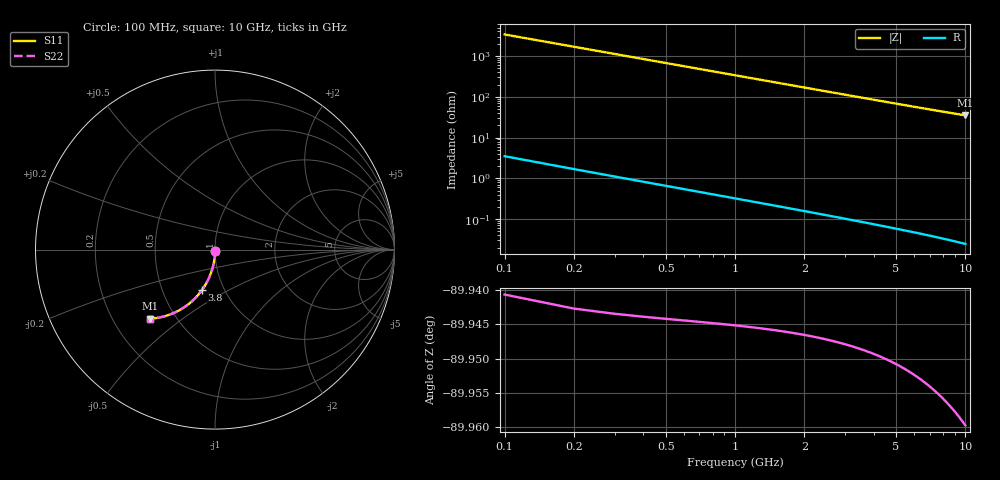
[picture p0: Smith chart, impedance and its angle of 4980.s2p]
# Hz S RI R 50.00
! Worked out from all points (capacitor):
!   100 points, 100 MHz to 10 GHz, reference 50 ohm
!   read as one part in shunt: C = 471 fF near 100 MHz
!   lowest |Z| = 35.1 ohm at 10 GHz (marker M1)
!   S11 on the Smith chart (normalised r, x): 100 MHz: 1.00, -0.01; 3.8 GHz: 0.79, -0.38; 10 GHz: 0.36, -0.39
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1e8  0.000309 -0.00645  0.9996 -0.00835  0.9996 -0.00835  0.000309 -0.00645
2e8  0.000143 -0.0129  0.9994 -0.0167  0.9994 -0.0167  0.000143 -0.0129
3e8  -0.000132 -0.0193  0.9991 -0.025  0.9991 -0.025  -0.000132 -0.0193
4e8  -0.000514 -0.0258  0.9987 -0.0334  0.9987 -0.0334  -0.000514 -0.0258
5e8  -0.001 -0.0322  0.9982 -0.0417  0.9982 -0.0417  -0.001 -0.0322
6e8  -0.0016 -0.0386  0.9976 -0.05  0.9976 -0.05  -0.0016 -0.0386
7e8  -0.00231 -0.045  0.9968 -0.0583  0.9968 -0.0583  -0.00231 -0.045
8e8  -0.00312 -0.0514  0.996 -0.0666  0.996 -0.0666  -0.00312 -0.0514
9e8  -0.00403 -0.0578  0.9951 -0.0749  0.9951 -0.0749  -0.00403 -0.0578
1.1e9  -0.00618 -0.0705  0.9928 -0.0914  0.9928 -0.0914  -0.00618 -0.0705
1.4e9  -0.0102 -0.0893  0.9887 -0.1159  0.9887 -0.1159  -0.0102 -0.0893
1.8e9  -0.0169 -0.114  0.9817 -0.1482  0.9817 -0.1482  -0.0169 -0.114
2.1e9  -0.023 -0.1321  0.9754 -0.172  0.9754 -0.172  -0.023 -0.1321
2.5e9  -0.0325 -0.1556  0.9656 -0.2031  0.9656 -0.2031  -0.0325 -0.1556
2.9e9  -0.0434 -0.1782  0.9543 -0.2334  0.9543 -0.2334  -0.0434 -0.1782
3.4e9  -0.0589 -0.2052  0.9382 -0.2699  0.9382 -0.2699  -0.0589 -0.2052
3.8e9  -0.0726 -0.2256  0.9239 -0.298  0.9239 -0.298  -0.0726 -0.2256
4.4e9  -0.0953 -0.2541  0.9004 -0.338  0.9004 -0.338  -0.0953 -0.2541
5.1e9  -0.1244 -0.2839  0.8701 -0.3813  0.8701 -0.3813  -0.1244 -0.2839
6.7e9  -0.1982 -0.3373  0.7926 -0.4658  0.7926 -0.4658  -0.1982 -0.3373
8.4e9  -0.2817 -0.3716  0.7041 -0.5337  0.7041 -0.5337  -0.2817 -0.3716
1e10  -0.3594 -0.385  0.6207 -0.5791  0.6207 -0.5791  -0.3594 -0.385
